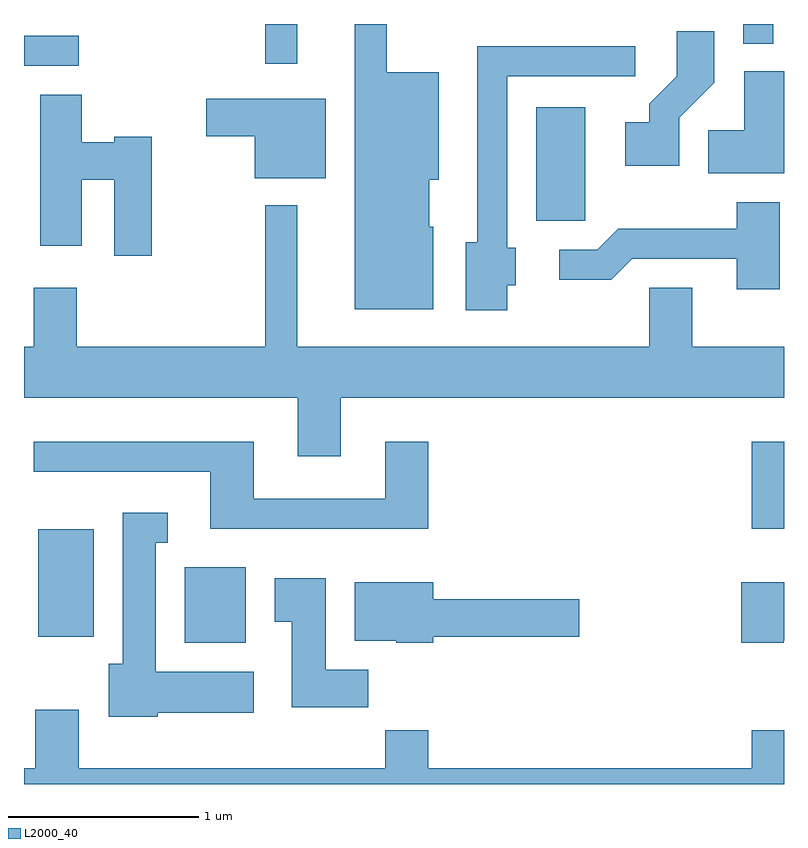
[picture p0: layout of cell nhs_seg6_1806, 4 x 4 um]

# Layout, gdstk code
import gdstk
lib = gdstk.Library(unit=1e-6, precision=1e-09)
def R(c, l, rs):  # rectangles x0, y0, x1, y1
    for r in rs: c.add(gdstk.rectangle(r[:2], r[2:], *l))
def P(c, l, *ps):  # polygons
    for p in ps: c.add(gdstk.Polygon(p, *l))
L2000_40 = (2000, 40)

nhs_seg6_1806 = lib.new_cell('nhs_seg6_1806')
R(nhs_seg6_1806, L2000_40, [(240.456,1610.906,240.779,1611.304), (239.686,1610.936,239.979,1611.504), (243.441,1611.506,243.611,1611.964), (242.306,1613.126,242.564,1613.724), (239.611,1613.941,239.898,1614.099), (240.881,1613.953,241.049,1614.162), (243.396,1614.058,243.554,1614.162)])
P(nhs_seg6_1806, L2000_40, [(241.764,1613.094),(241.744,1613.094),(241.744,1613.341),(241.794,1613.341),(241.794,1613.909),(241.519,1613.909),(241.519,1614.162),(241.351,1614.162),(241.351,1612.661),(241.764,1612.661)],
  [(243.059,1613.669),(243.244,1613.854),(243.244,1614.124),(243.046,1614.124),(243.046,1613.887),(242.901,1613.742),(242.901,1613.644),(242.776,1613.644),(242.776,1613.416),(243.059,1613.416)],
  [(242.154,1612.786),(242.199,1612.786),(242.199,1612.984),(242.154,1612.984),(242.154,1613.886),(242.828,1613.886),(242.828,1614.044),(241.996,1614.044),(241.996,1613.014),(241.936,1613.014),(241.936,1612.656),(242.154,1612.656)],
  [(243.611,1613.914),(243.401,1613.914),(243.401,1613.604),(243.211,1613.604),(243.211,1613.376),(243.611,1613.376)],
  [(240.284,1613.569),(240.086,1613.569),(240.086,1613.539),(239.914,1613.539),(239.914,1613.789),(239.696,1613.789),(239.696,1612.996),(239.914,1612.996),(239.914,1613.341),(240.086,1613.341),(240.086,1612.941),(240.284,1612.941)],
  [(241.199,1613.769),(240.571,1613.769),(240.571,1613.571),(240.826,1613.571),(240.826,1613.351),(241.199,1613.351)],
  [(243.589,1613.224),(243.361,1613.224),(243.361,1613.084),(242.739,1613.084),(242.629,1612.974),(242.428,1612.974),(242.428,1612.816),(242.702,1612.816),(242.812,1612.926),(243.361,1612.926),(243.361,1612.766),(243.589,1612.766)],
  [(241.279,1612.196),(243.611,1612.196),(243.611,1612.464),(243.129,1612.464),(243.129,1612.774),(242.901,1612.774),(242.901,1612.464),(241.049,1612.464),(241.049,1613.208),(240.881,1613.208),(240.881,1612.464),(239.889,1612.464),(239.889,1612.774),(239.661,1612.774),(239.661,1612.464),(239.611,1612.464),(239.611,1612.196),(241.051,1612.196),(241.051,1611.886),(241.279,1611.886)],
  [(241.739,1611.964),(241.511,1611.964),(241.511,1611.664),(240.819,1611.664),(240.819,1611.964),(239.663,1611.964),(239.663,1611.806),(240.591,1611.806),(240.591,1611.506),(241.739,1611.506)],
  [(240.314,1610.536),(240.819,1610.536),(240.819,1610.754),(240.304,1610.754),(240.304,1611.431),(240.368,1611.431),(240.368,1611.589),(240.131,1611.589),(240.131,1610.794),(240.056,1610.794),(240.056,1610.516),(240.314,1610.516)],
  [(241.424,1610.764),(241.199,1610.764),(241.199,1611.244),(240.931,1611.244),(240.931,1611.016),(241.021,1611.016),(241.021,1610.566),(241.424,1610.566)],
  [(241.764,1610.936),(242.534,1610.936),(242.534,1611.134),(241.764,1611.134),(241.764,1611.224),(241.351,1611.224),(241.351,1610.916),(241.57,1610.916),(241.57,1610.906),(241.764,1610.906)],
  [(243.61,1610.916),(243.611,1610.916),(243.611,1611.224),(243.386,1611.224),(243.386,1610.906),(243.61,1610.906)],
  [(243.611,1610.444),(243.441,1610.444),(243.441,1610.244),(241.739,1610.244),(241.739,1610.444),(241.511,1610.444),(241.511,1610.244),(239.899,1610.244),(239.899,1610.554),(239.671,1610.554),(239.671,1610.244),(239.611,1610.244),(239.611,1610.162),(243.611,1610.162)])

lib.write_gds('nhs_seg6_1806.gds')
